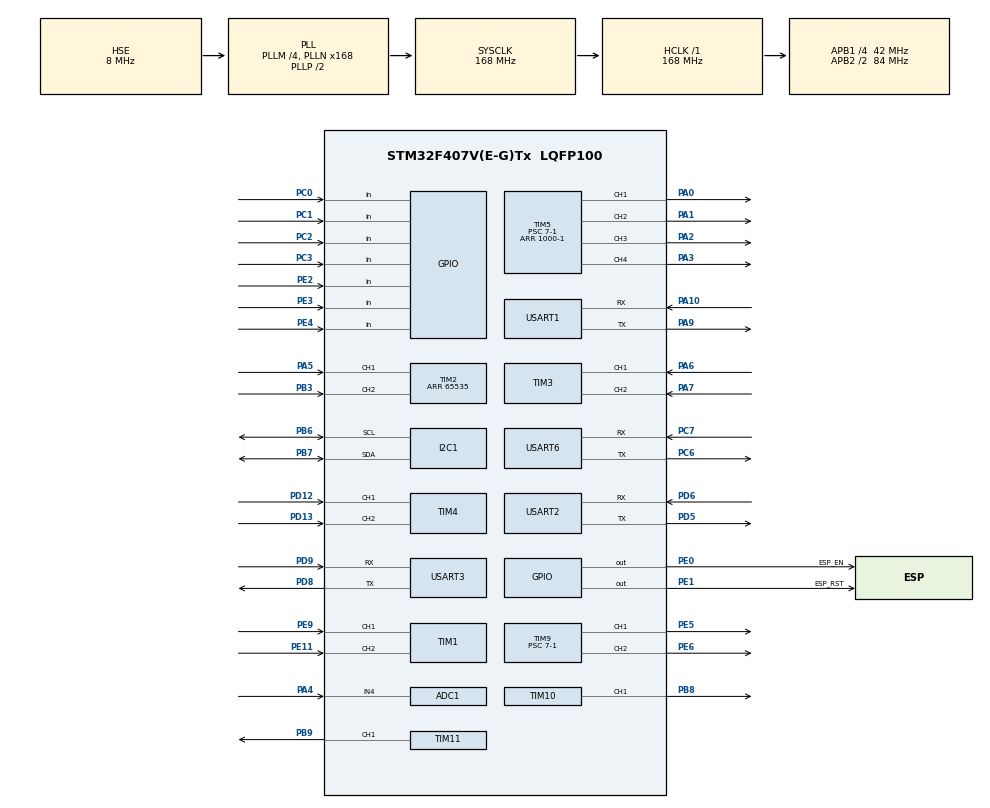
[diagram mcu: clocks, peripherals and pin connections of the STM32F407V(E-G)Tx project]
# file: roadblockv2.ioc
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ADC1.Channel-0\#ChannelRegularConversion=ADC_CHANNEL_4
ADC1.ContinuousConvMode=ENABLE
ADC1.NbrOfConversionFlag=1
ADC1.Rank-0\#ChannelRegularConversion=1
ADC1.SamplingTime-0\#ChannelRegularConversion=ADC_SAMPLETIME_3CYCLES
ADC1.master=1
Dma.Request0=USART1_RX
Dma.USART1_RX.0.Direction=DMA_PERIPH_TO_MEMORY
Dma.USART1_RX.0.FIFOMode=DMA_FIFOMODE_DISABLE
Dma.USART1_RX.0.Instance=DMA2_Stream2
Dma.USART1_RX.0.MemDataAlignment=DMA_MDATAALIGN_BYTE
Dma.USART1_RX.0.MemInc=DMA_MINC_ENABLE
Dma.USART1_RX.0.Mode=DMA_NORMAL
Dma.USART1_RX.0.PeriphDataAlignment=DMA_PDATAALIGN_BYTE
Dma.USART1_RX.0.PeriphInc=DMA_PINC_DISABLE
Dma.USART1_RX.0.Priority=DMA_PRIORITY_LOW
I2C1.I2C_Mode=I2C_Fast
Mcu.Family=STM32F4
Mcu.Name=STM32F407V(E-G)Tx
Mcu.Package=LQFP100
NVIC.DMA2_Stream2_IRQn=true\:0\:0\:false\:false\:true\:false\:true\:true
NVIC.PriorityGroup=NVIC_PRIORITYGROUP_4
NVIC.TIM7_IRQn=true\:2\:0\:true\:false\:true\:true\:true\:true
NVIC.USART1_IRQn=true\:3\:0\:true\:false\:true\:true\:true\:true
NVIC.USART2_IRQn=true\:1\:0\:true\:false\:true\:true\:true\:true
NVIC.USART3_IRQn=true\:0\:0\:false\:false\:true\:true\:true\:true
NVIC.USART6_IRQn=true\:0\:0\:false\:false\:true\:true\:true\:true
PA0-WKUP.Signal=S_TIM5_CH1
PA1.Signal=S_TIM5_CH2
PA10.Mode=Asynchronous
PA10.Signal=USART1_RX
PA13.Mode=Serial_Wire
PA13.Signal=SYS_JTMS-SWDIO
PA14.Mode=Serial_Wire
PA14.Signal=SYS_JTCK-SWCLK
PA2.Signal=S_TIM5_CH3
PA3.Signal=S_TIM5_CH4
PA4.Signal=ADCx_IN4
PA5.Signal=S_TIM2_CH1_ETR
PA6.Signal=S_TIM3_CH1
PA7.Signal=S_TIM3_CH2
PA9.Mode=Asynchronous
PA9.Signal=USART1_TX
PB3.Signal=S_TIM2_CH2
PB6.Mode=I2C
PB6.Signal=I2C1_SCL
PB7.Mode=I2C
PB7.Signal=I2C1_SDA
PB8.Signal=S_TIM10_CH1
PB9.Signal=S_TIM11_CH1
PC0.GPIO_PuPd=GPIO_PULLUP
PC0.Signal=GPIO_Input
PC1.GPIO_PuPd=GPIO_PULLUP
PC1.Signal=GPIO_Input
PC2.GPIO_PuPd=GPIO_PULLUP
PC2.Signal=GPIO_Input
PC3.GPIO_PuPd=GPIO_PULLUP
PC3.Signal=GPIO_Input
PC6.Mode=Asynchronous
PC6.Signal=USART6_TX
PC7.Mode=Asynchronous
PC7.Signal=USART6_RX
PD12.Signal=S_TIM4_CH1
PD13.Signal=S_TIM4_CH2
PD5.Mode=Asynchronous
PD5.Signal=USART2_TX
PD6.Mode=Asynchronous
PD6.Signal=USART2_RX
PD8.Mode=Asynchronous
PD8.Signal=USART3_TX
PD9.Mode=Asynchronous
PD9.Signal=USART3_RX
PE0.GPIO_Label=ESP_EN
PE0.PinState=GPIO_PIN_SET
PE0.Signal=GPIO_Output
PE1.GPIO_Label=ESP_RST
PE1.Signal=GPIO_Output
PE11.Signal=S_TIM1_CH2
PE2.GPIO_PuPd=GPIO_PULLUP
PE2.Signal=GPIO_Input
PE3.GPIO_PuPd=GPIO_PULLUP
PE3.Signal=GPIO_Input
PE4.GPIO_PuPd=GPIO_PULLUP
PE4.Signal=GPIO_Input
PE5.Signal=S_TIM9_CH1
PE6.Signal=S_TIM9_CH2
PE9.Signal=S_TIM1_CH1
PH0-OSC_IN.Mode=HSE-External-Oscillator
PH0-OSC_IN.Signal=RCC_OSC_IN
PH1-OSC_OUT.Mode=HSE-External-Oscillator
PH1-OSC_OUT.Signal=RCC_OSC_OUT
ProjectManager.HeapSize=0x200
ProjectManager.StackSize=0x400
ProjectManager.TargetToolchain=MDK-ARM V5.32
RCC.48MHZClocksFreq_Value=84000000
RCC.AHBFreq_Value=168000000
RCC.APB1CLKDivider=RCC_HCLK_DIV4
RCC.APB1Freq_Value=42000000
RCC.APB1TimFreq_Value=84000000
RCC.APB2CLKDivider=RCC_HCLK_DIV2
RCC.APB2Freq_Value=84000000
RCC.APB2TimFreq_Value=168000000
RCC.CortexFreq_Value=168000000
RCC.HCLKFreq_Value=168000000
RCC.HSE_VALUE=8000000
RCC.HSI_VALUE=16000000
RCC.LSE_VALUE=32768
RCC.PLLM=4
RCC.PLLN=168
RCC.PLLSourceVirtual=RCC_PLLSOURCE_HSE
RCC.SYSCLKFreq_VALUE=168000000
RCC.SYSCLKSource=RCC_SYSCLKSOURCE_PLLCLK
RCC.VCOOutputFreq_Value=336000000
SH.ADCx_IN4.0=ADC1_IN4,IN4
SH.S_TIM10_CH1.0=TIM10_CH1,PWM Generation1 CH1
SH.S_TIM11_CH1.0=TIM11_CH1,PWM Generation1 CH1
SH.S_TIM1_CH1.0=TIM1_CH1,Encoder_Interface
SH.S_TIM1_CH2.0=TIM1_CH2,Encoder_Interface
SH.S_TIM2_CH1_ETR.0=TIM2_CH1,Encoder_Interface
SH.S_TIM2_CH2.0=TIM2_CH2,Encoder_Interface
SH.S_TIM3_CH1.0=TIM3_CH1,Encoder_Interface
SH.S_TIM3_CH2.0=TIM3_CH2,Encoder_Interface
SH.S_TIM4_CH1.0=TIM4_CH1,Encoder_Interface
SH.S_TIM4_CH2.0=TIM4_CH2,Encoder_Interface
SH.S_TIM5_CH1.0=TIM5_CH1,PWM Generation1 CH1
SH.S_TIM5_CH2.0=TIM5_CH2,PWM Generation2 CH2
SH.S_TIM5_CH3.0=TIM5_CH3,PWM Generation3 CH3
SH.S_TIM5_CH4.0=TIM5_CH4,PWM Generation4 CH4
SH.S_TIM9_CH1.0=TIM9_CH1,PWM Generation1 CH1
SH.S_TIM9_CH2.0=TIM9_CH2,PWM Generation2 CH2
TIM1.EncoderMode=TIM_ENCODERMODE_TI12
TIM10.Channel=TIM_CHANNEL_1
TIM10.Period=1000-1
TIM10.Prescaler=7-1
TIM11.Channel=TIM_CHANNEL_1
TIM11.Period=1000-1
TIM11.Prescaler=7-1
TIM2.EncoderMode=TIM_ENCODERMODE_TI12
TIM2.Period=65535
TIM3.EncoderMode=TIM_ENCODERMODE_TI12
TIM4.EncoderMode=TIM_ENCODERMODE_TI12
TIM5.Channel-PWM\ Generation1\ CH1=TIM_CHANNEL_1
TIM5.Channel-PWM\ Generation2\ CH2=TIM_CHANNEL_2
TIM5.Channel-PWM\ Generation3\ CH3=TIM_CHANNEL_3
TIM5.Channel-PWM\ Generation4\ CH4=TIM_CHANNEL_4
TIM5.Period=1000-1
TIM5.Prescaler=7-1
TIM7.Period=2000-1
TIM7.Prescaler=840-1
TIM9.Channel-PWM\ Generation1\ CH1=TIM_CHANNEL_1
TIM9.Channel-PWM\ Generation2\ CH2=TIM_CHANNEL_2
TIM9.Period=1000-1
TIM9.Prescaler=7-1
USART1.VirtualMode=VM_ASYNC
USART2.VirtualMode=VM_ASYNC
USART3.VirtualMode=VM_ASYNC
USART6.VirtualMode=VM_ASYNC
VP_TIM10_VS_ClockSourceINT.Mode=Enable_Timer
VP_TIM11_VS_ClockSourceINT.Mode=Enable_Timer
VP_TIM5_VS_ClockSourceINT.Mode=Internal
VP_TIM7_VS_ClockSourceINT.Mode=Enable_Timer
VP_TIM9_VS_ClockSourceINT.Mode=Internal
board=custom

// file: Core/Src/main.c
/* USER CODE BEGIN Header */
/**
  ******************************************************************************
  * @file           : main.c
  * @brief          : Main program body
  ******************************************************************************
  * @attention
  *
  * Copyright (c) 2024 STMicroelectronics.
  * All rights reserved.
  *
  * This software is licensed under terms that can be found in the LICENSE file
  * in the root directory of this software component.
  * If no LICENSE file comes with this software, it is provided AS-IS.
  *
  ******************************************************************************
  */
/* USER CODE END Header */
#include "main.h"
#include "adc.h"
#include "dma.h"
#include "i2c.h"
#include "tim.h"
#include "usart.h"
#include "gpio.h"

/* USER CODE BEGIN Includes */
#include "stdio.h"
#include "wt61c.h"
#include "oled.h"
#include "menu.h"
#include "esp01.h"
#include "motor.h"
#include "uwb.h"
#include "font.h"
/* USER CODE END Includes */

/* USER CODE BEGIN PTD */
void menu_init(void);

uint32_t ADC_Value=0;

struct page p0, p1, p2, p3, p4, p5, p6, p7, p8, p9, p10, p11, p12, p13, p14;
void menu_init(void);
float test1 = 0, test2 = 1, test3 = 2;
int16_t test4 = 3, test5 = 4, test6 = 5;
/* USER CODE END PTD */

void SystemClock_Config(void);

/* USER CODE BEGIN 0 */
void menu_func_test(void)
{
  oled_clear();
  oled_show_string(0, 0, "menu_func_test()");

  // oled_show_string(0, 1, "hello world!");
  // oled_show_int(0, 2, 123, 3);
  // oled_show_uint(0, 3, 456, 3);
  // oled_show_float(0, 4, 3.14, 3, 3);

  oled_show_binary_image(40,0,gImage_game2,48,48,48,48);
  //默认都是 阴码、列行式、逆向   16*16
  oled_show_chinese(0,0,16,*sbdxq,5 );
  while (1)
  {

    if (HAL_GPIO_ReadPin(GPIOC, GPIO_PIN_2) == GPIO_PIN_RESET)
    {
      HAL_Delay(KEY_DelayTime);
      if (HAL_GPIO_ReadPin(GPIOC, GPIO_PIN_2) == GPIO_PIN_RESET)
      {
          MenuRender(1);
          return;
      }
    }
  }
}

void adc_test(void)
{
  oled_clear();
  oled_show_string(0, 0, "adc_test()");

  while (1)
  {
    HAL_Delay(500);
    if(HAL_IS_BIT_SET(HAL_ADC_GetState(&hadc1), HAL_ADC_STATE_REG_EOC))
    {
      ADC_Value = HAL_ADC_GetValue(&hadc1);

    }
    HAL_ADC_Stop (&hadc1);
    oled_show_float(0, 1, (float)(ADC_Value*12.155/2647.0), 2,2);
    HAL_ADC_Start(&hadc1);
    HAL_ADC_PollForConversion(&hadc1,10);

    if (HAL_GPIO_ReadPin(GPIOC, GPIO_PIN_2) == GPIO_PIN_RESET)
    {
      HAL_Delay(KEY_DelayTime);
      if (HAL_GPIO_ReadPin(GPIOC, GPIO_PIN_2) == GPIO_PIN_RESET)
      {
          MenuRender(1);
          return;
      }
    }
  }
}

void pwm_test(void)
{
  oled_clear();
  oled_show_string(0, 0, "pwm_test()");

  HAL_TIM_Base_Start_IT(&htim7);

  set_motor_pwm(1,200,0);
  set_motor_pwm(2,400,0);
  set_motor_pwm(3,600,0);
  set_motor_pwm(4,800,0);

  while (1)
  {

    oled_show_int(0,1,spd1,5);
    oled_show_int(0,2,spd2,5);
    oled_show_int(0,3,spd3,5);
    oled_show_int(0,4,spd4,5);

    if (HAL_GPIO_ReadPin(GPIOC, GPIO_PIN_2) == GPIO_PIN_RESET)
    {
      HAL_Delay(KEY_DelayTime);
      if (HAL_GPIO_ReadPin(GPIOC, GPIO_PIN_2) == GPIO_PIN_RESET)
      {
        HAL_TIM_Base_Stop_IT(&htim7);
        set_motor_pwm(1,0,0);
        set_motor_pwm(2,0,0);
        set_motor_pwm(3,0,0);
        set_motor_pwm(4,0,0);
        MenuRender(1);
        return;
      }
    }
  }
}

void free_move(void)
{
  oled_clear();
  oled_show_string(0, 0, "free_move()");

  HAL_TIM_Base_Start_IT(&htim7);

  uint8_t time_cnt=0,stop_flag=0;
  while (1)
  {
    time_cnt++;
    if(time_cnt>=free_move_time){
      car_state=STOP;
      stop_flag=1;
    }else if(stop_flag==0){
      car_state=FREEMOVE;
    }

    oled_show_int(0,1,spd1,5);
    oled_show_int(0,2,spd2,5);
    oled_show_int(0,3,spd3,5);
    oled_show_int(0,4,spd4,5);
    oled_show_float(0,5,yaw,3,2);
    HAL_Delay(10);
    if (HAL_GPIO_ReadPin(GPIOC, GPIO_PIN_2) == GPIO_PIN_RESET)
    {
      HAL_Delay(KEY_DelayTime);
      if (HAL_GPIO_ReadPin(GPIOC, GPIO_PIN_2) == GPIO_PIN_RESET)
      {
        HAL_TIM_Base_Stop_IT(&htim7);
        set_motor_pwm(1,0,0);
        set_motor_pwm(2,0,0);
        set_motor_pwm(3,0,0);
        set_motor_pwm(4,0,0);
        MenuRender(1);
        return;
      }
    }
  }
}

void move_test(void)
{
  oled_clear();
  oled_show_string(0, 0, "move_test()");
  HAL_TIM_Base_Start_IT(&htim7);
  uint8_t time_cnt=0,stop_flag=0;
  while (1)
  {
    time_cnt++;
    if(time_cnt>=60){
      stop_flag++;
      time_cnt=0;
    }

    if(stop_flag==0) car_state=FORWARD;
    else if(stop_flag==1) car_state=BACKWARD;
    else if(stop_flag==2) car_state=LEFT;
    else if(stop_flag==3) car_state=RIGHT;
    else if(stop_flag==4) car_state=LEFTUP;
    else if(stop_flag==5) car_state=RIGHTUP;
    else if(stop_flag==6) car_state=RIGHTDOWN;
    else if(stop_flag==7) car_state=LEFTDOWN;
    else car_state=STOP;
    oled_show_int(0,1,spd1,5);
    oled_show_int(0,2,spd2,5);
    oled_show_int(0,3,spd3,5);
    oled_show_int(0,4,spd4,5);
    oled_show_float(0,5,yaw,3,2);

    HAL_Delay(10);

    if (HAL_GPIO_ReadPin(GPIOC, GPIO_PIN_2) == GPIO_PIN_RESET)
    {
      HAL_Delay(KEY_DelayTime);
      if (HAL_GPIO_ReadPin(GPIOC, GPIO_PIN_2) == GPIO_PIN_RESET)
      {
        HAL_TIM_Base_Stop_IT(&htim7);
        set_motor_pwm(1,0,0);
        set_motor_pwm(2,0,0);
        set_motor_pwm(3,0,0);
        set_motor_pwm(4,0,0);
        MenuRender(1);
        return;
      }
    }
  }
}

void angle_test(void)
{
  extern uint8_t angle_test_flag;
  oled_clear();
  oled_show_string(0, 0, "angle_test()");
  angle_test_flag=1;

  HAL_TIM_Base_Start_IT(&htim7);

  while (1)
  {

    oled_show_int(0,1,spd1,5);
    oled_show_int(0,2,spd2,5);
    oled_show_int(0,3,spd3,5);
    oled_show_int(0,4,spd4,5);
    oled_show_float(0,5,yaw,3,2);
    car_state=STOP;

    if (HAL_GPIO_ReadPin(GPIOC, GPIO_PIN_2) == GPIO_PIN_RESET)
    {
      HAL_Delay(KEY_DelayTime);
      if (HAL_GPIO_ReadPin(GPIOC, GPIO_PIN_2) == GPIO_PIN_RESET)
      {
        angle_test_flag=0;
        HAL_TIM_Base_Stop_IT(&htim7);
        set_motor_pwm(1,0,0);
        set_motor_pwm(2,0,0);
        set_motor_pwm(3,0,0);
        set_motor_pwm(4,0,0);
        MenuRender(1);
        return;
      }
    }
  }
}

void pid_reset(void)
{
  oled_clear();
  oled_show_string(0, 0, "pid_reset()");
  oled_show_string(0, 1, "Reset successfully!");
  spd_pid_init();

  HAL_Delay(300);
  MenuRender(1);
  return;
}
/* USER CODE END 0 */

int main(void)
{

  /* MCU Configuration--------------------------------------------------------*/

  /* Reset of all peripherals, Initializes the Flash interface and the Systick. */
  HAL_Init();

  /* Configure the system clock */
  SystemClock_Config();

  /* Initialize all configured peripherals */
  MX_GPIO_Init();
  MX_DMA_Init();
  MX_USART1_UART_Init();
  MX_USART6_UART_Init();
  MX_I2C1_Init();
  MX_USART2_UART_Init();
  MX_TIM5_Init();
  MX_TIM10_Init();
  MX_TIM11_Init();
  MX_TIM9_Init();
  MX_TIM1_Init();
  MX_TIM7_Init();
  MX_TIM2_Init();
  MX_TIM3_Init();
  MX_TIM4_Init();
  MX_ADC1_Init();
  MX_USART3_UART_Init();
  /* USER CODE BEGIN 2 */

  printf("System_WakeUp\n");
  HAL_UART_Receive_IT(&huart1,&huart1_RxData,1);

  /**********初始化陀螺仪**********/
  wt61c_init(&huart6);
  /**********初始化陀螺仪**********/

  /**********初始化UWB**********/
  uwb_init(&huart3);
  /**********初始化UWB**********/

  /**********初始化ADC**********/
  HAL_ADC_Start(&hadc1);
  HAL_ADC_PollForConversion(&hadc1,10);
  /**********初始化ADC**********/

  /**********初始化OLED和菜单**********/
  oled_init();
  oled_clear();
  menu_init();
  /**********初始化OLED和菜单**********/

  /**********初始化电机与编码器**********/
  spd_pid_init();
  //初始化PWM接口
  HAL_TIM_PWM_Start(&htim5, TIM_CHANNEL_1); //1
  HAL_TIM_PWM_Start(&htim5, TIM_CHANNEL_2);
  HAL_TIM_PWM_Start(&htim5, TIM_CHANNEL_3); //2
  HAL_TIM_PWM_Start(&htim5, TIM_CHANNEL_4);
  HAL_TIM_PWM_Start(&htim9, TIM_CHANNEL_1); //3
  HAL_TIM_PWM_Start(&htim9, TIM_CHANNEL_2);
  HAL_TIM_PWM_Start(&htim10, TIM_CHANNEL_1); //4
  HAL_TIM_PWM_Start(&htim11, TIM_CHANNEL_1);
  //清空比较值
  __HAL_TIM_SET_COMPARE(&htim5, TIM_CHANNEL_1, 0);
  __HAL_TIM_SET_COMPARE(&htim5, TIM_CHANNEL_2, 0);
  __HAL_TIM_SET_COMPARE(&htim5, TIM_CHANNEL_3, 0);
  __HAL_TIM_SET_COMPARE(&htim5, TIM_CHANNEL_4, 0);
  __HAL_TIM_SET_COMPARE(&htim9, TIM_CHANNEL_1, 0);
  __HAL_TIM_SET_COMPARE(&htim9, TIM_CHANNEL_2, 0);
  __HAL_TIM_SET_COMPARE(&htim10, TIM_CHANNEL_1, 0);
  __HAL_TIM_SET_COMPARE(&htim11, TIM_CHANNEL_1, 0);
  //初始化编码器
  HAL_TIM_Encoder_Start(&htim1, TIM_CHANNEL_ALL);
  __HAL_TIM_SET_COUNTER(&htim1,0);
  HAL_TIM_Encoder_Start(&htim2, TIM_CHANNEL_ALL);
  __HAL_TIM_SET_COUNTER(&htim2,0);
  HAL_TIM_Encoder_Start(&htim3, TIM_CHANNEL_ALL);
  __HAL_TIM_SET_COUNTER(&htim3,0);
  HAL_TIM_Encoder_Start(&htim4, TIM_CHANNEL_ALL);
  __HAL_TIM_SET_COUNTER(&htim4,0);
  /**********初始化电机与编码器**********/

  /**********初始化ESP01**********/
  // uint8_t esp_try_cnt=0;
  // //使能引脚高电平
  // HAL_GPIO_WritePin(ESP_EN_GPIO_Port, ESP_EN_Pin, GPIO_PIN_SET);

  // while(esp_try_cnt<5){
  //   printf("esp_round:%d\n",esp_try_cnt);
  //   HAL_GPIO_WritePin(ESP_RST_GPIO_Port, ESP_RST_Pin, GPIO_PIN_SET);
  //   HAL_Delay(100);
  //   HAL_GPIO_WritePin(ESP_RST_GPIO_Port, ESP_RST_Pin, GPIO_PIN_RESET);
  //   HAL_Delay(100);
  //   HAL_GPIO_WritePin(ESP_RST_GPIO_Port, ESP_RST_Pin, GPIO_PIN_SET);
  //   HAL_Delay(100);
  //   HAL_Delay(500);
  //   if(esp01_init()==1) break;
  //   else esp_try_cnt++;
  // }
  // if(esp_try_cnt>=5) printf("error:esp01 init failed!\n");
  /**********初始化ESP01**********/
  /* USER CODE END 2 */

  /* Infinite loop */
  while (1)
  {

    /* USER CODE BEGIN 3 */
    MenuCmd(key_scan());
    if (navigate[cntpage]->dymantic_page)
    {
      MenuRender(0);
      HAL_Delay(100);
    }
    HAL_Delay(5);
  }
  /* USER CODE END 3 */
}

void SystemClock_Config(void)
{
  RCC_OscInitTypeDef RCC_OscInitStruct = {0};
  RCC_ClkInitTypeDef RCC_ClkInitStruct = {0};

  /** Configure the main internal regulator output voltage
  */
  __HAL_RCC_PWR_CLK_ENABLE();
  __HAL_PWR_VOLTAGESCALING_CONFIG(PWR_REGULATOR_VOLTAGE_SCALE1);

  /** Initializes the RCC Oscillators according to the specified parameters
  * in the RCC_OscInitTypeDef structure.
  */
  RCC_OscInitStruct.OscillatorType = RCC_OSCILLATORTYPE_HSE;
  RCC_OscInitStruct.HSEState = RCC_HSE_ON;
  RCC_OscInitStruct.PLL.PLLState = RCC_PLL_ON;
  RCC_OscInitStruct.PLL.PLLSource = RCC_PLLSOURCE_HSE;
  RCC_OscInitStruct.PLL.PLLM = 4;
  RCC_OscInitStruct.PLL.PLLN = 168;
  RCC_OscInitStruct.PLL.PLLP = RCC_PLLP_DIV2;
  RCC_OscInitStruct.PLL.PLLQ = 4;
  if (HAL_RCC_OscConfig(&RCC_OscInitStruct) != HAL_OK)
  {
    Error_Handler();
  }

  /** Initializes the CPU, AHB and APB buses clocks
  */
  RCC_ClkInitStruct.ClockType = RCC_CLOCKTYPE_HCLK|RCC_CLOCKTYPE_SYSCLK
                              |RCC_CLOCKTYPE_PCLK1|RCC_CLOCKTYPE_PCLK2;
  RCC_ClkInitStruct.SYSCLKSource = RCC_SYSCLKSOURCE_PLLCLK;
  RCC_ClkInitStruct.AHBCLKDivider = RCC_SYSCLK_DIV1;
  RCC_ClkInitStruct.APB1CLKDivider = RCC_HCLK_DIV4;
  RCC_ClkInitStruct.APB2CLKDivider = RCC_HCLK_DIV2;

  if (HAL_RCC_ClockConfig(&RCC_ClkInitStruct, FLASH_LATENCY_5) != HAL_OK)
  {
    Error_Handler();
  }
}

/* USER CODE BEGIN 4 */
void menu_init(void)
{
  add_subpage(&p0, "function", &p1);
  add_subpage(&p0, "pid", &p2);
  add_subpage(&p0, "state", &p3);

  add_func(&p1, "<free_move>", free_move);
  add_func(&p1, "<pid_reset>", pid_reset);
  add_func(&p1, "<menu_func_test>", menu_func_test);
  add_func(&p1, "<pwm_test>", pwm_test);
  add_func(&p1, "<adc_test>", adc_test);
  add_func(&p1, "<move_test>", move_test);
  add_func(&p1, "<angle_test>", angle_test);

  add_value_float(&p2, "[a_kp]", &a_kp, 0.5, NULL);
  add_value_float(&p2, "[a_kd]", &a_kd, 1, NULL);
  add_value(&p2, "[test4]", (int *)&test4, 1, NULL);

  add_value(&p3, "[fm_time]", (int *)&free_move_time, 10, NULL);
  add_value(&p3, "[fm_degree]", (int *)&free_move_degree, 5, NULL);
  add_value(&p3, "[general_spd]", (int *)&general_spd, 5, NULL);
  add_value_float(&p3, "[test3]", &test3, 0.3, NULL);
  add_value(&p3, "[test6]", (int *)&test4, 3, NULL);

  MenuInit(&p0);
}
/* USER CODE END 4 */

void Error_Handler(void)
{
  __disable_irq();
  while (1)
  {
  }
}
